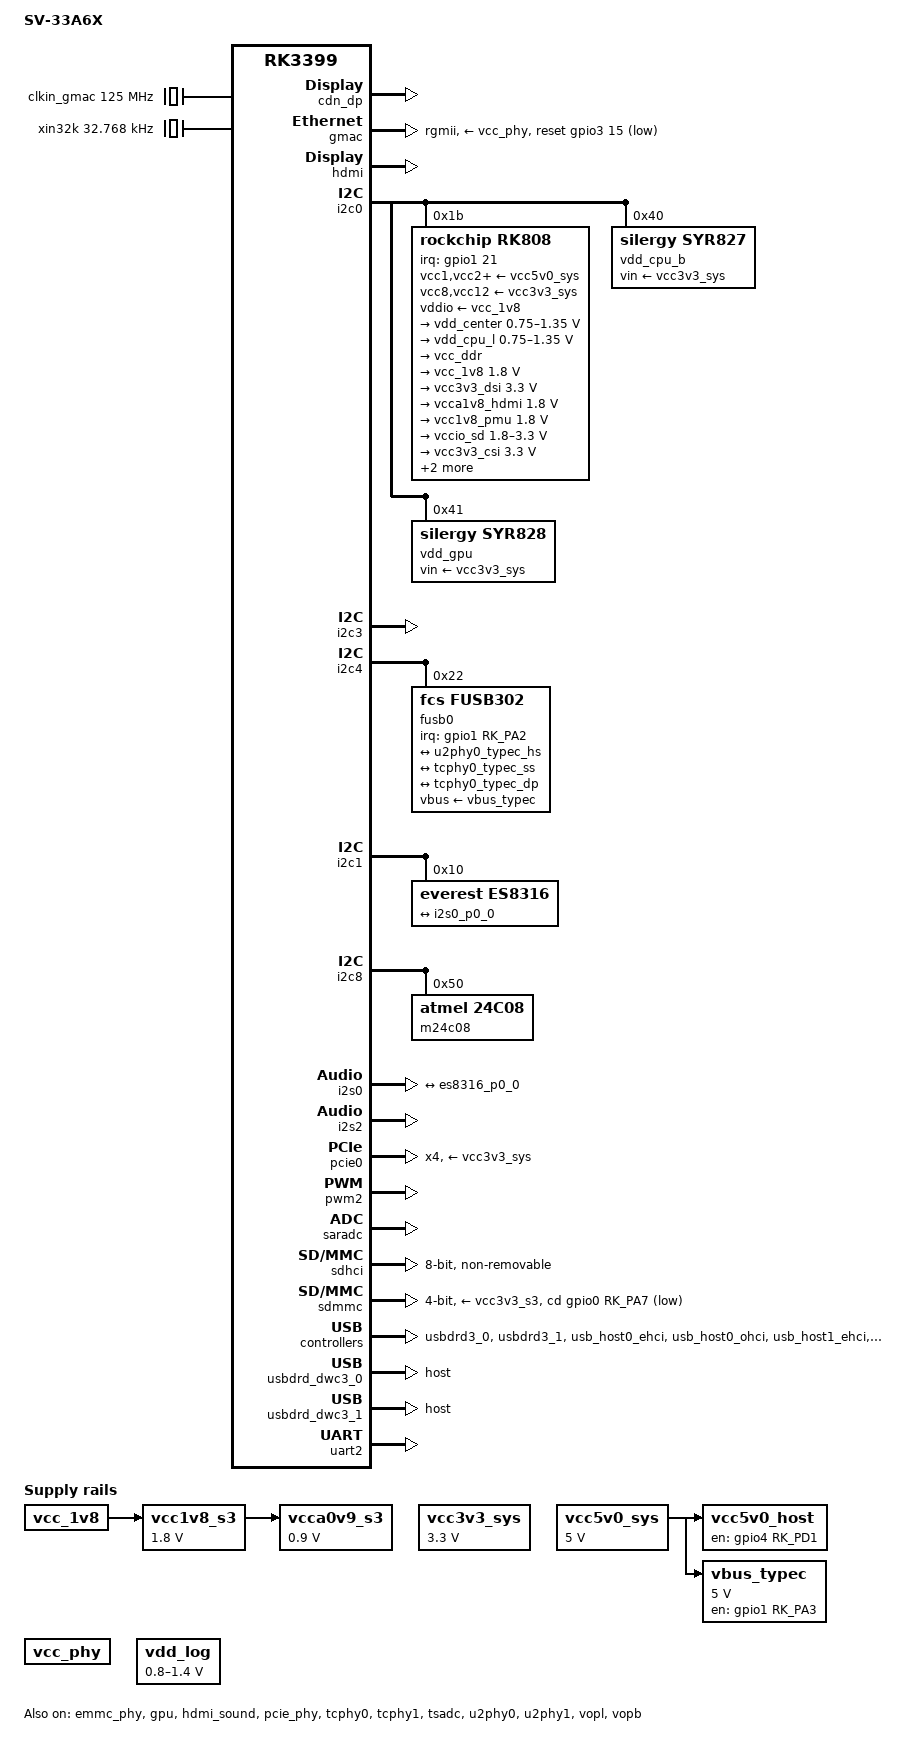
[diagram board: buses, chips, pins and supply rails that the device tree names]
/dts-v1/;
#include <dt-bindings/pwm/pwm.h>
#include <dt-bindings/usb/pd.h>
#include "rk3399.dtsi"
#include "rk3399-opp.dtsi"

/ {
    model = "SV-33A6X";
    compatible = "rockchip,rk3399-evb", "rockchip,rk3399";

    chosen {
        stdout-path = "serial2:1500000n8";
    };

    
    clkin_gmac: external-gmac-clock {
        compatible = "fixed-clock";
        clock-frequency = <125000000>;
        clock-output-names = "clkin_gmac";
        #clock-cells = <0>;
    };
    
    gpio-leds {
        compatible = "gpio-leds";

    
    };

    vcca0v9_s3: regulator-vcca0v9-s3 {
        compatible = "regulator-fixed";
        regulator-min-microvolt = <900000>;
        regulator-max-microvolt = <900000>;
        regulator-name = "vcca0v9_s3";
        vin-supply = <&vcc1v8_s3>;
    };
    
    vcc1v8_s3: vcca1v8_s3: vcc1v8-s3 {
        compatible = "regulator-fixed";
        regulator-name = "vcc1v8_s3";
        regulator-always-on;
        regulator-boot-on;
        regulator-min-microvolt = <1800000>;
        regulator-max-microvolt = <1800000>;
        vin-supply = <&vcc_1v8>;
    };

    vcc3v3_sys: vcc3v3-sys {
        compatible = "regulator-fixed";
        regulator-name = "vcc3v3_sys";
        regulator-always-on;
        regulator-boot-on;
        regulator-min-microvolt = <3300000>;
        regulator-max-microvolt = <3300000>;
    };

    vcc5v0_host: vcc5v0-host-regulator {
        compatible = "regulator-fixed";
        enable-active-high;
        gpio = <&gpio4 RK_PD1 GPIO_ACTIVE_HIGH>;
        pinctrl-names = "default";
        pinctrl-0 = <&vcc5v0_host_en>;
        regulator-name = "vcc5v0_host";
        vin-supply = <&vcc5v0_sys>;
    };

    vcc5v0_sys: vcc5v0-sys {
        compatible = "regulator-fixed";
        regulator-name = "vcc5v0_sys";
        regulator-always-on;
        regulator-boot-on;
        regulator-min-microvolt = <5000000>;
        regulator-max-microvolt = <5000000>;
    };
    
    vcc_phy: vcc-phy-regulator {
        compatible = "regulator-fixed";
        regulator-name = "vcc_phy";
        regulator-always-on;
        regulator-boot-on;
    };
    
    vbus_typec: vbus-5vout {
        compatible = "regulator-fixed";
        enable-active-high;
        gpio = <&gpio1 RK_PA3 GPIO_ACTIVE_HIGH>;
        pinctrl-names = "default";
        pinctrl-0 = <&vcc5v0_typec0_en_pin>;
        regulator-name = "vbus_5vout";
        regulator-min-microvolt = <5000000>;
        regulator-max-microvolt = <5000000>;
        vin-supply = <&vcc5v0_sys>;

        regulator-state-mem {
            regulator-off-in-suspend;
        };
    };
    
    vdd_log: vdd-log {
        compatible = "pwm-regulator";
        pwms = <&pwm2 0 25000 1>;
        regulator-name = "vdd_log";
        regulator-min-microvolt = <800000>;
        regulator-max-microvolt = <1400000>;
        regulator-always-on;
        regulator-boot-on;

        /* for rockchip boot on */
        rockchip,pwm_id= <2>;
        rockchip,pwm_voltage = <900000>;
    };
    
    xin32k: xin32k {
        compatible = "fixed-clock";
        clock-frequency = <32768>;
        clock-output-names = "xin32k";
        #clock-cells = <0>;
    };
     sound {
        compatible = "audio-graph-card";
        label = "Analog";
        dais = <&i2s0_p0>;
    };


};

&cdn_dp {
    status = "okay";
    extcon = <&fusb0>;
};

&cpu_l0 {
    cpu-supply = <&vdd_cpu_l>;
};

&cpu_l1 {
    cpu-supply = <&vdd_cpu_l>;
};

&cpu_l2 {
    cpu-supply = <&vdd_cpu_l>;
};

&cpu_l3 {
    cpu-supply = <&vdd_cpu_l>;
};

&cpu_b0 {
    cpu-supply = <&vdd_cpu_b>;
};

&cpu_b1 {
    cpu-supply = <&vdd_cpu_b>;
};

&emmc_phy {
    status = "okay";
};

&gmac {
    assigned-clocks = <&cru SCLK_RMII_SRC>;
    assigned-clock-parents = <&cru SCLK_MAC>;
    clock_in_out = "input";
    assigned-clock-rates = <125000000>;
    phy-supply = <&vcc_phy>;
    phy-mode = "rgmii";
    pinctrl-names = "default";
    pinctrl-0 = <&rgmii_pins>;
    snps,reset-gpio = <&gpio3 15 GPIO_ACTIVE_LOW>;
    snps,reset-active-low;
    snps,reset-delays-us = <0 16000 72000>;
    tx_delay = <0x25>;
    rx_delay = <0x20>;
    wakeup-enable = "0";
    status = "okay";
};
&gpu {
    mali-supply = <&vdd_gpu>;
    status = "okay";
};

&hdmi {
    ddc-i2c-bus = <&i2c3>;
    status = "okay";
};

&hdmi_sound {
    status = "okay";
};

&i2c0 {
    status = "okay";

    rk808: pmic@1b {
        compatible = "rockchip,rk808";
        reg = <0x1b>;
        interrupt-parent = <&gpio1>;
        interrupts = <21 IRQ_TYPE_LEVEL_LOW>;
        pinctrl-names = "default";
        pinctrl-0 = <&pmic_int_l>, <&ap_pwroff>, <&clk_32k>;
        #clock-cells = <1>;
        clock-output-names = "rk808-clkout1", "rk808-clkout2";
        rockchip,system-power-controller;
        wakeup-source;

        vcc1-supply = <&vcc5v0_sys>;
        vcc2-supply = <&vcc5v0_sys>;
        vcc3-supply = <&vcc5v0_sys>;
        vcc4-supply = <&vcc5v0_sys>;
        vcc6-supply = <&vcc5v0_sys>;
        vcc7-supply = <&vcc5v0_sys>;
        vcc8-supply = <&vcc3v3_sys>;
        vcc9-supply = <&vcc5v0_sys>;
        vcc10-supply = <&vcc5v0_sys>;
        vcc11-supply = <&vcc5v0_sys>;
        vcc12-supply = <&vcc3v3_sys>;
        vddio-supply = <&vcc_1v8>;

        regulators {
            vdd_center: DCDC_REG1 {
                regulator-name = "vdd_center";
                regulator-min-microvolt = <750000>;
                regulator-max-microvolt = <1350000>;
                regulator-ramp-delay = <6001>;
                regulator-always-on;
                regulator-boot-on;
                regulator-state-mem {
                    regulator-on-in-suspend;
                    regulator-suspend-microvolt = <900000>;
                };
            };

            vdd_cpu_l: DCDC_REG2 {
                regulator-name = "vdd_cpu_l";
                regulator-min-microvolt = <750000>;
                regulator-max-microvolt = <1350000>;
                regulator-ramp-delay = <6001>;
                regulator-always-on;
                regulator-boot-on;
                regulator-state-mem {
                    regulator-off-in-suspend;
                };
            };

            vcc_ddr: DCDC_REG3 {
                regulator-name = "vcc_ddr";
                regulator-always-on;
                regulator-boot-on;
                regulator-state-mem {
                    regulator-on-in-suspend;
                };
            };

            vcc_1v8: DCDC_REG4 {
                regulator-name = "vcc_1v8";
                regulator-min-microvolt = <1800000>;
                regulator-max-microvolt = <1800000>;
                regulator-always-on;
                regulator-boot-on;
                regulator-state-mem {
                    regulator-on-in-suspend;
                    regulator-suspend-microvolt = <1800000>;
                };
            };

            vcc3v3_dsi: LDO_REG1 {
                regulator-name = "vcc3v3_dsi";
                regulator-min-microvolt = <3300000>;
                regulator-max-microvolt = <3300000>;
                regulator-always-on;
                regulator-boot-on;
                regulator-state-mem {
                    regulator-off-in-suspend;
                };
            };

            vcca1v8_hdmi: LDO_REG2 {
                regulator-name = "vcca1v8_hdmi";
                regulator-min-microvolt = <1800000>;
                regulator-max-microvolt = <1800000>;
                regulator-always-on;
                regulator-boot-on;
                regulator-state-mem {
                    regulator-off-in-suspend;
                };
            };

            vcc1v8_pmu: LDO_REG3 {
                regulator-name = "vcc1v8_pmu";
                regulator-min-microvolt = <1800000>;
                regulator-max-microvolt = <1800000>;
                regulator-always-on;
                regulator-boot-on;
                regulator-state-mem {
                    regulator-on-in-suspend;
                    regulator-suspend-microvolt = <1800000>;
                };
            };

            vccio_sd: LDO_REG4 {
                regulator-name = "vccio_sd";
                regulator-min-microvolt = <1800000>;
                regulator-max-microvolt = <3300000>;
                regulator-always-on;
                regulator-boot-on;
                regulator-state-mem {
                    regulator-on-in-suspend;
                    regulator-suspend-microvolt = <3000000>;
                };
            };

            vcc3v3_csi: LDO_REG5 {
                regulator-name = "vcc3v3_csi";
                regulator-min-microvolt = <3300000>;
                regulator-max-microvolt = <3300000>;
                regulator-always-on;
                regulator-boot-on;
                regulator-state-mem {
                    regulator-off-in-suspend;
                };
            };

            vcc_1v5: LDO_REG6 {
                regulator-name = "vcc_1v5";
                regulator-min-microvolt = <1500000>;
                regulator-max-microvolt = <1500000>;
                regulator-always-on;
                regulator-boot-on;
                regulator-state-mem {
                    regulator-on-in-suspend;
                    regulator-suspend-microvolt = <1500000>;
                };
            };

            vcca0v9_hdmi: LDO_REG7 {
                regulator-name = "vcca0v9_hdmi";
                regulator-min-microvolt = <900000>;
                regulator-max-microvolt = <900000>;
                regulator-always-on;
                regulator-boot-on;
                regulator-state-mem {
                    regulator-off-in-suspend;
                };
            };

            vcc_3v0: LDO_REG8 {
                regulator-name = "vcc_3v0";
                regulator-min-microvolt = <3000000>;
                regulator-max-microvolt = <3000000>;
                regulator-always-on;
                regulator-boot-on;
                regulator-state-mem {
                    regulator-on-in-suspend;
                    regulator-suspend-microvolt = <3000000>;
                };
            };

            vcc3v3_s3: SWITCH_REG1 {
                regulator-name = "vcc3v3_s3";
                regulator-always-on;
                regulator-boot-on;
                regulator-state-mem {
                    regulator-on-in-suspend;
                };
            };

            vcc3v3_s0: SWITCH_REG2 {
                regulator-name = "vcc3v3_s0";
                regulator-always-on;
                regulator-boot-on;
                regulator-state-mem {
                    regulator-off-in-suspend;
                };
            };
        };
    };

    vdd_cpu_b: regulator@40 {
        compatible = "silergy,syr827";
        reg = <0x40>;
        fcs,suspend-voltage-selector = <0>;
        pinctrl-names = "default";
        pinctrl-0 = <&vsel1_gpio>;
        regulator-name = "vdd_cpu_b";
        regulator-min-microvolt = <712500>;
        regulator-max-microvolt = <1500000>;
        regulator-ramp-delay = <1000>;
        regulator-always-on;
        regulator-boot-on;
        vin-supply = <&vcc3v3_sys>;

        regulator-state-mem {
            regulator-off-in-suspend;
        };
    };


        vdd_gpu: regulator@41 {
        compatible = "silergy,syr828";
        reg = <0x41>;
        fcs,suspend-voltage-selector = <1>;
        pinctrl-names = "default";
        regulator-name = "vdd_gpu";
        regulator-min-microvolt = <712500>;
        regulator-max-microvolt = <1500000>;
        regulator-ramp-delay = <1000>;
        regulator-always-on;
        regulator-boot-on;
        vin-supply = <&vcc3v3_sys>;
        regulator-state-mem {
            regulator-off-in-suspend;
        };
    };
    

};

&i2c3 {
    status = "okay";
};

&i2c4 {

    status = "okay";
    i2c-scl-rising-time-ns = <475>;
    i2c-scl-falling-time-ns = <26>;
    fusb0: fusb30x@22 {
        compatible = "fcs,fusb302";
        reg = <0x22>;
        pinctrl-names = "default";
        pinctrl-0 = <&fusb0_int>;
        interrupt-parent = <&gpio1>;
        interrupts = <RK_PA2 IRQ_TYPE_LEVEL_LOW>;
        vbus-supply = <&vbus_typec>;
        status = "okay";
        
        connector {
            compatible = "usb-c-connector";
            data-role = "dual";
            label = "USB-C";
            op-sink-microwatt = <1000000>;
            power-role = "dual";
            sink-pdos =
                <PDO_FIXED(5000, 2500, PDO_FIXED_USB_COMM)>;
            source-pdos =
                <PDO_FIXED(5000, 1400, PDO_FIXED_USB_COMM)>;
            try-power-role = "sink";

            extcon-cables = <1 2 5 6 9 10 12 44>;
            typec-altmodes = <0xff01 1 0x001c0000 1>;

            ports {
                #address-cells = <1>;
                #size-cells = <0>;

                port@0 {
                    reg = <0>;

                    usbc_hs: endpoint {
                        remote-endpoint =
                            <&u2phy0_typec_hs>;
                    };
                };

                port@1 {
                    reg = <1>;

                    usbc_ss: endpoint {
                        remote-endpoint =
                            <&tcphy0_typec_ss>;
                    };
                };

                port@2 {
                    reg = <2>;

                    usbc_dp: endpoint {
                        remote-endpoint =
                            <&tcphy0_typec_dp>;
                    };
                };
            };
        };
        
        
        
        
    };
    
};    

&i2c1 {
    i2c-scl-rising-time-ns = <300>;
    i2c-scl-falling-time-ns = <15>;
    status = "okay";
};


&i2c1 {
    es8316: codec@10 {
        compatible = "everest,es8316";
        reg = <0x10>;
        clocks = <&cru SCLK_I2S_8CH_OUT>;
        clock-names = "mclk";
        #sound-dai-cells = <0>;

        port {
            es8316_p0_0: endpoint {
                remote-endpoint = <&i2s0_p0_0>;
            };
        };
    };
};


&i2c8 {

    m24c08: m24c08@50 {
        compatible = "atmel,24c08";
        reg = <0x50>;
    };
};

&i2s0 {
    rockchip,playback-channels = <2>;
    rockchip,capture-channels = <2>;
    status = "okay";

    i2s0_p0: port {
        i2s0_p0_0: endpoint {
            dai-format = "i2s";
            mclk-fs = <256>;
            remote-endpoint = <&es8316_p0_0>;
        };
    };
};
&i2s2 {
    status = "okay";
};

&pcie_phy {
    status = "okay";
};

&pcie0 {
    ep-gpios = <&gpio2 28 GPIO_ACTIVE_HIGH>;
    num-lanes = <4>;
    pinctrl-names = "default";
    pinctrl-0 = <&pcie_clkreqn_cpm>;
    status = "okay";
    vpcie0v9-supply = <&vcca0v9_s3>;
    vpcie1v8-supply = <&vcca1v8_s3>;
    vpcie3v3-supply = <&vcc3v3_sys>;
};


&pwm0 {
    status = "disabled";
};

&pwm2 {
    status = "okay";
    pinctrl-names = "default";
    pinctrl-0 = <&pwm2_pin_pull_down>;
};

&pwm3 {
    status = "disabled";
};

&saradc {
    status = "okay";
};

&sdhci {
    bus-width = <8>;
    mmc-hs200-1_8v;
    supports-emmc;
    //mmc-hs400-enhanced-strobe;
    non-removable;
    keep-power-in-suspend;
    status = "okay";
};

&sdmmc {
    clock-frequency = <150000000>;
    clock-freq-min-max = <100000 150000000>;
    supports-sd;
    bus-width = <4>;
    cap-mmc-highspeed;
    cap-sd-highspeed;
    disable-wp;
    num-slots = <1>;
    cd-gpios = <&gpio0 RK_PA7 GPIO_ACTIVE_LOW>;
    //sd-uhs-sdr104;
    vmmc-supply = <&vcc3v3_s3>;
    vqmmc-supply = <&vccio_sd>;
    pinctrl-names = "default";
    pinctrl-0 = <&sdmmc_clk &sdmmc_cmd  &sdmmc_bus4>;
    status = "okay";
};


&tcphy0 {
    extcon = <&fusb0>;
    status = "okay";
};

&tcphy0_dp {
    port {
        tcphy0_typec_dp: endpoint {
            remote-endpoint = <&usbc_dp>;
        };
    };
};

&tcphy0_usb3 {
    port {
        tcphy0_typec_ss: endpoint {
            remote-endpoint = <&usbc_ss>;
        };
    };
};

&tcphy1 {
    status = "okay";
};

&tsadc {
    /* tshut mode 0:CRU 1:GPIO */
    rockchip,hw-tshut-mode = <1>;
    /* tshut polarity 0:LOW 1:HIGH */
    rockchip,hw-tshut-polarity = <1>;
    status = "okay";
};

&u2phy0 {
    status = "okay";

    u2phy0_otg: otg-port {
        status = "okay";
    };

    u2phy0_host: host-port {
        phy-supply = <&vcc5v0_host>;
        status = "okay";
    };

    port {
        u2phy0_typec_hs: endpoint {
            remote-endpoint = <&usbc_hs>;
        };
    };
};

&u2phy1 {
    status = "okay";

    u2phy1_otg: otg-port {
        status = "okay";
    };

    u2phy1_host: host-port {
        phy-supply = <&vcc5v0_host>;
        status = "okay";
    };
};

&usbdrd3_0 {
    status = "okay";
};

&usbdrd_dwc3_0 {
    status = "okay";
    dr_mode = "host";
};

&usbdrd3_1 {
    status = "okay";
};

&usbdrd_dwc3_1 {
    status = "okay";
    dr_mode = "host";
};

&uart2 {
    status = "okay";
};

&usb_host0_ehci {
    status = "okay";
};

&usb_host0_ohci {
    status = "okay";
};

&usb_host1_ehci {
    status = "okay";
};

&usb_host1_ohci {
    status = "okay";
};

&pinctrl {

    pmic {
        pmic_int_l: pmic-int-l {
            rockchip,pins =
                <1 21 RK_FUNC_GPIO &pcfg_pull_up>;
                
        };
        vsel1_gpio: vsel1-gpio {
            rockchip,pins =
                <1 17 RK_FUNC_GPIO &pcfg_pull_down>;
        };
        vsel2_gpio: vsel2-gpio {
            rockchip,pins =
                <1 14 RK_FUNC_GPIO &pcfg_pull_down>;
        };    
    };

    usb2 {
        vcc5v0_host_en: vcc5v0-host-en {
            rockchip,pins =
                <4 RK_PD1 RK_FUNC_GPIO &pcfg_pull_none>;
        };
    };
    
    usb-typec {
        vcc5v0_typec0_en_pin: vcc5v0-typec0-en-pin {
            rockchip,pins = <1 RK_PA3 RK_FUNC_GPIO &pcfg_pull_up>;
        };
    };
    
    fusb30x {
        fusb0_int: fusb0-int {
            rockchip,pins = <1 2 RK_FUNC_GPIO &pcfg_pull_up>;
        };
    };

    pcie {
        pcie_pwr_en: pcie-pwr-en {
            rockchip,pins = <2 RK_PA5 RK_FUNC_GPIO &pcfg_pull_none>;
        };

        pcie_perst: pcie-perst {
            rockchip,pins = <2 RK_PD3 RK_FUNC_GPIO &pcfg_pull_none>;
        };
    };

    rockchip-key {
        power_key: power-key {
            rockchip,pins = <0 RK_PA5 RK_FUNC_GPIO &pcfg_pull_up>;
        };
    };


};

&vopl {
    status = "okay";    
};

&vopl_mmu {
    status = "okay";
};

&vopb {
    status = "okay";
};

&vopb_mmu {
    status = "okay";
};
